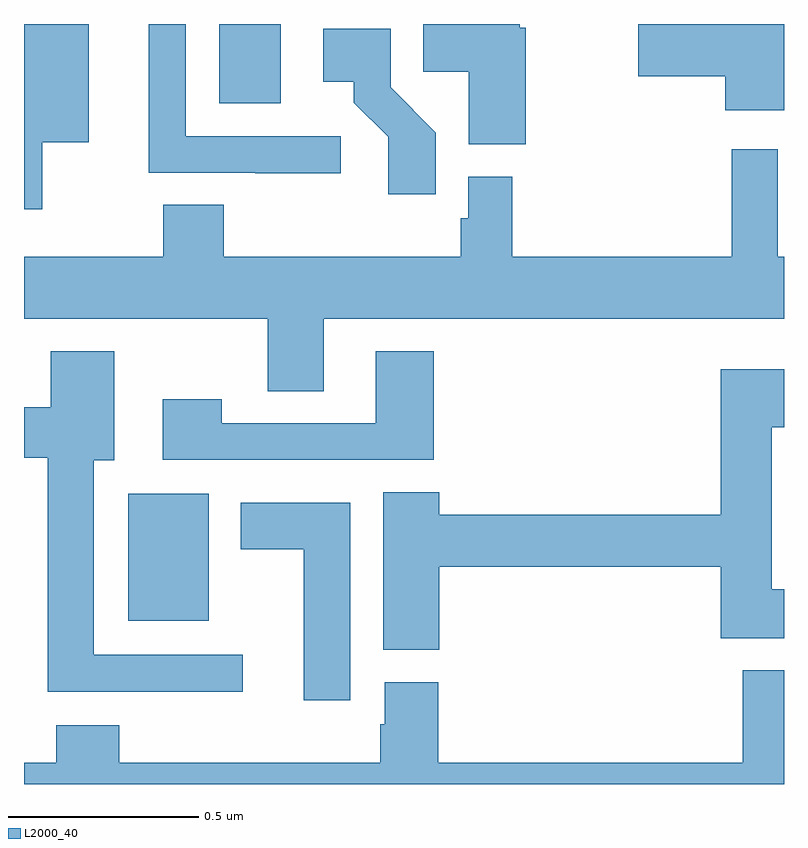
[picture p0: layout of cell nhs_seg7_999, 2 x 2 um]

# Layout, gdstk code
import gdstk
lib = gdstk.Library(unit=1e-6, precision=1e-09)
def R(c, l, rs):  # rectangles x0, y0, x1, y1
    for r in rs: c.add(gdstk.rectangle(r[:2], r[2:], *l))
def P(c, l, *ps):  # polygons
    for p in ps: c.add(gdstk.Polygon(p, *l))
L2000_40 = (2000, 40)

nhs_seg7_999 = lib.new_cell('nhs_seg7_999')
R(nhs_seg7_999, L2000_40, [(124.274,1058.429,124.486,1058.764), (124.514,1059.792,124.675,1060)])
P(nhs_seg7_999, L2000_40, [(126,1060),(125.616,1060),(125.616,1059.862),(125.846,1059.862),(125.846,1059.773),(126,1059.773)],
  [(125.32,1059.99),(125.304,1059.99),(125.304,1060),(125.05,1060),(125.05,1059.874),(125.171,1059.874),(125.171,1059.683),(125.32,1059.683)],
  [(124.048,1059.689),(124.171,1059.689),(124.171,1060),(124,1060),(124,1059.513),(124.048,1059.513)],
  [(124.834,1059.705),(124.425,1059.705),(124.425,1060),(124.328,1060),(124.328,1059.609),(124.609,1059.609),(124.609,1059.607),(124.834,1059.607)],
  [(125.084,1059.714),(124.965,1059.833),(124.965,1059.988),(124.788,1059.988),(124.788,1059.848),(124.868,1059.848),(124.868,1059.793),(124.959,1059.703),(124.959,1059.552),(125.084,1059.552)],
  [(124.789,1059.224),(126,1059.224),(126,1059.388),(125.983,1059.388),(125.983,1059.67),(125.862,1059.67),(125.862,1059.388),(125.285,1059.388),(125.285,1059.598),(125.169,1059.598),(125.169,1059.489),(125.149,1059.489),(125.149,1059.388),(124.526,1059.388),(124.526,1059.524),(124.366,1059.524),(124.366,1059.388),(124,1059.388),(124,1059.224),(124.642,1059.224),(124.642,1059.034),(124.789,1059.034)],
  [(125.078,1059.139),(124.925,1059.139),(124.925,1058.949),(124.521,1058.949),(124.521,1059.013),(124.365,1059.013),(124.365,1058.853),(125.078,1058.853)],
  [(124.576,1058.34),(124.183,1058.34),(124.183,1058.852),(124.237,1058.852),(124.237,1059.139),(124.07,1059.139),(124.07,1058.992),(124,1058.992),(124,1058.858),(124.063,1058.858),(124.063,1058.243),(124.576,1058.243)],
  [(125.093,1058.572),(125.834,1058.572),(125.834,1058.384),(126,1058.384),(126,1058.512),(125.968,1058.512),(125.968,1058.939),(126,1058.939),(126,1059.091),(125.834,1059.091),(125.834,1058.708),(125.093,1058.708),(125.093,1058.768),(124.946,1058.768),(124.946,1058.353),(125.093,1058.353)],
  [(124.858,1058.74),(124.571,1058.74),(124.571,1058.618),(124.736,1058.618),(124.736,1058.22),(124.858,1058.22)],
  [(126,1058.299),(125.891,1058.299),(125.891,1058.056),(125.09,1058.056),(125.09,1058.268),(124.949,1058.268),(124.949,1058.157),(124.937,1058.157),(124.937,1058.056),(124.25,1058.056),(124.25,1058.155),(124.085,1058.155),(124.085,1058.056),(124,1058.056),(124,1058),(126,1058)])

lib.write_gds('nhs_seg7_999.gds')
